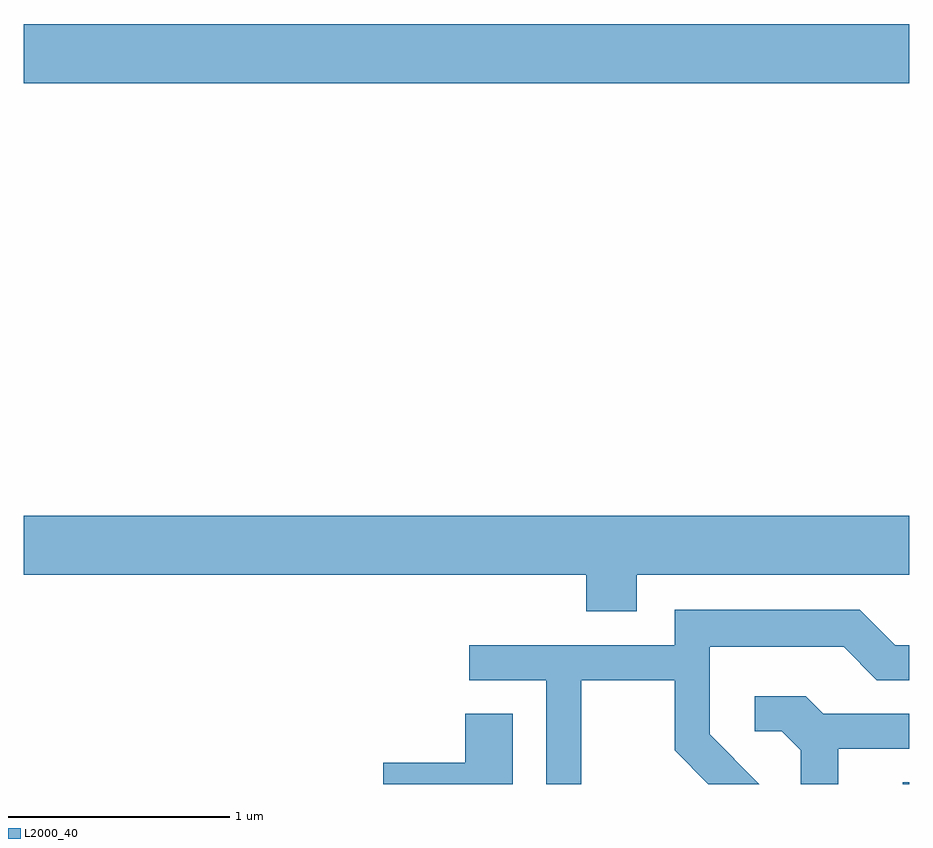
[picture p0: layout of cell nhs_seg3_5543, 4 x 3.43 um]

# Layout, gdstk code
import gdstk
lib = gdstk.Library(unit=1e-6, precision=1e-09)
def R(c, l, rs):  # rectangles x0, y0, x1, y1
    for r in rs: c.add(gdstk.rectangle(r[:2], r[2:], *l))
def P(c, l, *ps):  # polygons
    for p in ps: c.add(gdstk.Polygon(p, *l))
L2000_40 = (2000, 40)

nhs_seg3_5543 = lib.new_cell('nhs_seg3_5543')
R(nhs_seg3_5543, L2000_40, [(351.581,1193.892,351.611,1193.899), (347.611,1197.056,351.611,1197.324)])
P(nhs_seg3_5543, L2000_40, [(350.379,1194.836),(351.611,1194.836),(351.611,1195.104),(347.611,1195.104),(347.611,1194.836),(350.151,1194.836),(350.151,1194.671),(350.379,1194.671)],
  [(350.129,1194.361),(350.551,1194.361),(350.551,1194.044),(350.703,1193.892),(350.934,1193.892),(350.709,1194.117),(350.709,1194.511),(351.314,1194.511),(351.464,1194.361),(351.611,1194.361),(351.611,1194.519),(351.547,1194.519),(351.387,1194.679),(350.551,1194.679),(350.551,1194.519),(349.623,1194.519),(349.623,1194.361),(349.971,1194.361),(349.971,1193.892),(350.129,1193.892)],
  [(351.289,1194.051),(351.611,1194.051),(351.611,1194.209),(351.222,1194.209),(351.142,1194.289),(350.913,1194.289),(350.913,1194.131),(351.034,1194.131),(351.121,1194.044),(351.121,1193.892),(351.289,1193.892)],
  [(349.819,1194.209),(349.606,1194.209),(349.606,1193.989),(349.236,1193.989),(349.236,1193.892),(349.819,1193.892)])

lib.write_gds('nhs_seg3_5543.gds')
